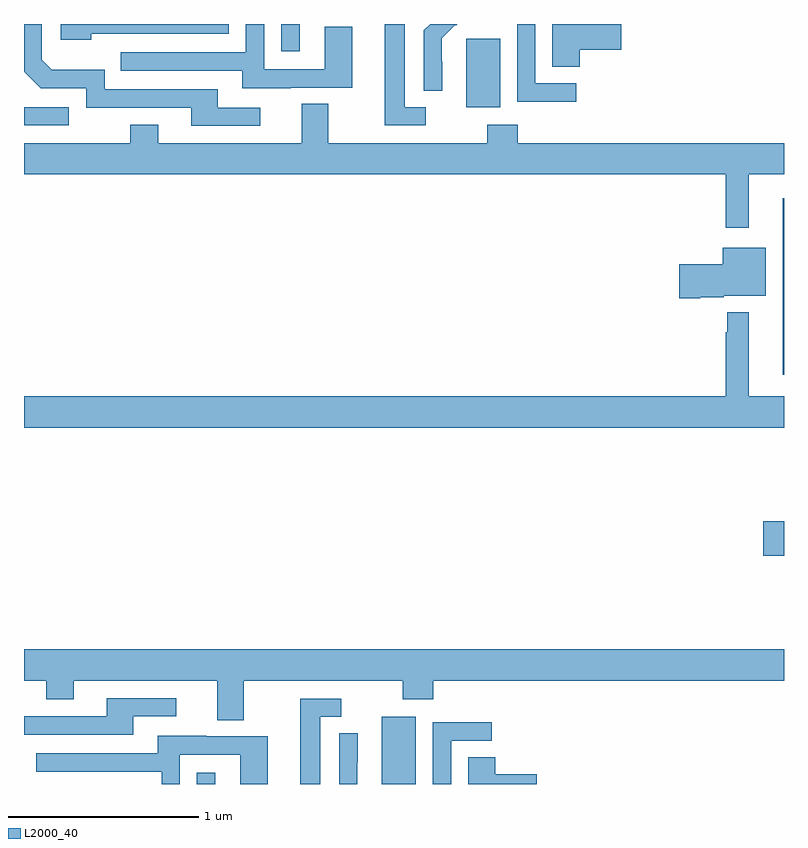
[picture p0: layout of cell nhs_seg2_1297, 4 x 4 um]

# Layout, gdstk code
import gdstk
lib = gdstk.Library(unit=1e-6, precision=1e-09)
def R(c, l, rs):  # rectangles x0, y0, x1, y1
    for r in rs: c.add(gdstk.rectangle(r[:2], r[2:], *l))
def P(c, l, *ps):  # polygons
    for p in ps: c.add(gdstk.Polygon(p, *l))
L2000_40 = (2000, 40)

nhs_seg2_1297 = lib.new_cell('nhs_seg2_1297')
R(nhs_seg2_1297, L2000_40, [(179.91,605.8,180.007,605.86), (180.884,605.8,181.063,606.154), (182.892,607.001,183,607.184), (182.993,607.955,183,608.884), (179,609.267,179.236,609.363), (181.328,609.362,181.507,609.723), (180.354,609.657,180.451,609.8)])
P(nhs_seg2_1297, L2000_40, [(181.925,609.665),(182.143,609.665),(182.143,609.8),(181.781,609.8),(181.781,609.574),(181.925,609.574)],
  [(181.906,609.489),(181.692,609.489),(181.692,609.8),(181.596,609.8),(181.596,609.391),(181.906,609.391)],
  [(181.2,609.602),(181.199,609.602),(181.199,609.725),(181.269,609.795),(181.272,609.792),(181.28,609.8),(181.138,609.8),(181.104,609.766),(181.104,609.448),(181.2,609.448)],
  [(179.354,609.75),(180.078,609.75),(180.078,609.8),(179.193,609.8),(179.193,609.716),(179.354,609.716)],
  [(180.244,609.36),(180.019,609.36),(180.019,609.456),(179.424,609.456),(179.424,609.559),(179.147,609.559),(179.094,609.612),(179.094,609.8),(179,609.8),(179,609.55),(179.088,609.462),(179.328,609.462),(179.328,609.36),(179.879,609.36),(179.879,609.264),(180.244,609.264)],
  [(181.114,609.363),(181.003,609.363),(181.003,609.8),(180.899,609.8),(180.899,609.267),(181.114,609.267)],
  [(180.403,609.465),(180.727,609.465),(180.727,609.785),(180.582,609.785),(180.582,609.561),(180.264,609.561),(180.264,609.8),(180.168,609.8),(180.168,609.651),(179.509,609.651),(179.509,609.555),(180.149,609.555),(180.149,609.461),(180.403,609.461)],
  [(182.815,609.008),(183,609.008),(183,609.172),(181.598,609.172),(181.598,609.271),(181.438,609.271),(181.438,609.172),(180.601,609.172),(180.601,609.38),(180.461,609.38),(180.461,609.172),(179.707,609.172),(179.707,609.271),(179.56,609.271),(179.56,609.172),(179,609.172),(179,609.008),(182.694,609.008),(182.694,608.727),(182.815,608.727)],
  [(182.56,608.363),(182.682,608.363),(182.682,608.369),(182.905,608.369),(182.905,608.623),(182.678,608.623),(182.678,608.535),(182.448,608.535),(182.448,608.357),(182.56,608.357)],
  [(182.701,608.284),(182.701,608.177),(182.694,608.177),(182.694,607.84),(179,607.84),(179,607.676),(183,607.676),(183,607.84),(182.815,607.84),(182.815,608.284)],
  [(180.157,606.344),(180.994,606.344),(180.994,606.245),(181.154,606.245),(181.154,606.344),(183,606.344),(183,606.508),(179,606.508),(179,606.344),(179.116,606.344),(179.116,606.245),(179.263,606.245),(179.263,606.344),(180.017,606.344),(180.017,606.136),(180.157,606.136)],
  [(179.575,606.156),(179.8,606.156),(179.8,606.252),(179.435,606.252),(179.435,606.156),(179,606.156),(179,606.06),(179.575,606.06)],
  [(180.559,606.153),(180.67,606.153),(180.67,606.249),(180.455,606.249),(180.455,605.8),(180.559,605.8)],
  [(181.248,606.027),(181.462,606.027),(181.462,606.126),(181.152,606.126),(181.152,605.8),(181.248,605.8)],
  [(180.755,605.914),(180.756,605.914),(180.756,606.068),(180.66,606.068),(180.66,605.8),(180.755,605.8)],
  [(179.82,605.955),(180.138,605.955),(180.138,605.8),(180.283,605.8),(180.283,606.051),(179.959,606.051),(179.959,606.055),(179.705,606.055),(179.705,605.961),(179.065,605.961),(179.065,605.865),(179.724,605.865),(179.724,605.8),(179.82,605.8)],
  [(181.699,605.852),(181.481,605.852),(181.481,605.942),(181.337,605.942),(181.337,605.8),(181.699,605.8)])

lib.write_gds('nhs_seg2_1297.gds')
